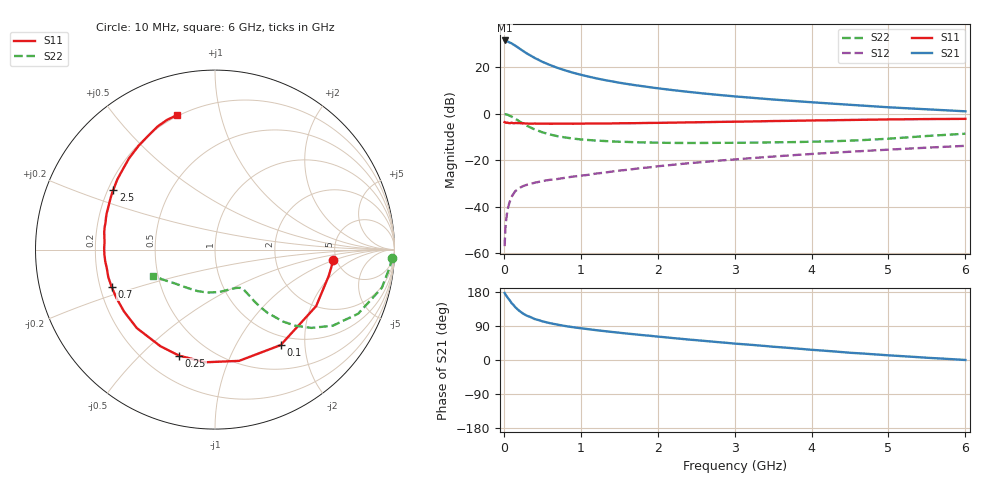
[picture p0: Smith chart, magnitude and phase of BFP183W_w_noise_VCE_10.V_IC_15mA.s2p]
! Infineon Technologies  Discrete & RF Semiconductors
! BFP183W
! VCE =  10. V,  IC =  15 mA
! Common Emitter S-Parameters:  Jan 2017
# GHz  S  MA  R  50
!  f  S11  S21  S12  S22
! GHz  MAG  ANG  MAG  ANG  MAG  ANG  MAG  ANG
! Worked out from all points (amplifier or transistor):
!   77 points, 10 MHz to 6 GHz, reference 50 ohm
!   highest |S21| = 31.6 dB at 10 MHz (marker M1)
!   |S21| within 3 dB of that: start of sweep to 181.9 MHz
!   unconditionally stable (mu >= 1): 1.436 GHz to 3.729 GHz
!   at 130 MHz: K = 0.19, MSG = 32.0 dB, |S12| = -34.3 dB
!   at 2.2 GHz: K = 1.06, MAG = 14.6 dB, |S12| = -22.0 dB
!   at 6 GHz: K = 0.85, MSG = 7.4 dB, |S12| = -13.8 dB
!   lowest NFmin = 1.05 dB at 450 MHz
!   S11 on the Smith chart (normalised r, x): 10 MHz: 4.71, -0.97; 100 MHz: 0.85, -1.55; 250 MHz: 0.34, -0.66; 700 MHz: 0.25, -0.16; 2.5 GHz: 0.22, +0.26; 6 GHz: 0.19, +0.74
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0.01  0.6623 -5.0  38.19 176.9  0.0014 85.6  0.985 -2.6
0.02  0.6505 -13.0  37.52 173.2  0.0033 91.1  0.9807 -5.3
0.05  0.6456 -29.2  36.29 164.4  0.0088 77.5  0.9537 -12.9
0.1  0.6456 -55.5  33.19 150.5  0.0161 66.6  0.8742 -24.1
0.15  0.6343 -77.8  29.41 139.1  0.0216 57.8  0.7807 -32.9
0.2  0.6299 -94.8  25.77 129.8  0.025 53.2  0.6918 -39.1
0.25  0.6238 -108.6  22.65 122.4  0.0276 47.7  0.6157 -43.5
0.3  0.6183 -119.4  19.97 116.8  0.0295 46.2  0.5517 -46.6
0.4  0.6171 -134.9  16.06 108.2  0.0326 42.8  0.4606 -50.2
0.5  0.6132 -145.8  13.25 102.1  0.0354 43.1  0.4 -51.9
0.6  0.6117 -153.9  11.29 97.2  0.0378 42.6  0.3585 -52.8
0.7  0.6124 -160.2  9.763 93.2  0.0393 44.5  0.3283 -53.1
0.9  0.6116 -170.1  7.683 86.5  0.0443 46.7  0.2932 -53.9
1.1  0.617 -177.5  6.352 81.3  0.0484 48.5  0.2724 -54.6
1.3  0.6167 176.2  5.39 76.4  0.0537 50.4  0.2597 -56.1
1.5  0.6249 171.0  4.692 72.0  0.0597 52.0  0.2501 -58.3
2.1  0.6415 157.3  3.395 59.9  0.0767 54.4  0.2372 -67.9
2.5  0.657 149.6  2.857 52.3  0.0887 54.5  0.2352 -76.7
3.1  0.6797 139.4  2.305 41.8  0.107 53.4  0.2377 -90.7
4.1  0.7217 124.9  1.732 25.5  0.1394 49.8  0.2521 -115.6
5.1  0.7598 113.9  1.356 11.1  0.1722 44.8  0.2986 -141.7
6  0.7788 105.7  1.132 0.0  0.2041 39.3  0.3727 -156.9
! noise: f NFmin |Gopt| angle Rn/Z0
0.45  1.05  0.15  158  0.1
0.9  1.09  0.21  163  0.09
1.9  1.56  0.39  -168  0.08
2.4  1.8  0.44  -161  0.11
